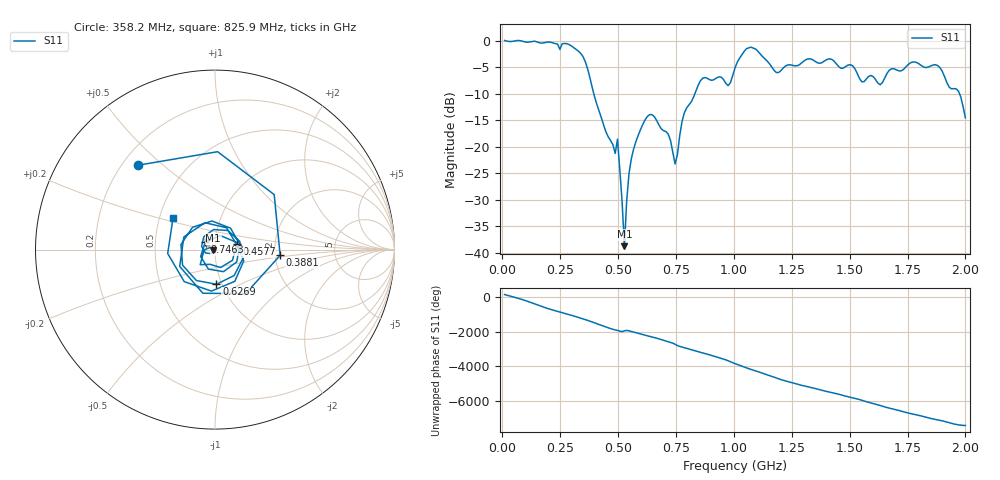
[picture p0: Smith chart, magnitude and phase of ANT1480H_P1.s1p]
!Created with skrf (http://scikit-rf.org).
# Hz S RI R 50.0
!freq ReS11 ImS11
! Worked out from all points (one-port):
!   201 points, 10 MHz to 2 GHz, reference 50 ohm
!   lowest |S11| = -38.8 dB at 527.4 MHz (marker M1), VSWR 1.02, Z = 48.9 - j0.363 ohm
!   |S11| at or under -10 dB: 395.2 MHz to 831.6 MHz (436.4 MHz wide, 71.1 % of centre); 1.975 GHz to end of sweep
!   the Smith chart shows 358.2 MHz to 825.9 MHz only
!   S11 on the Smith chart (normalised r, x): 358.2 MHz: 0.26, +0.42; 388.1 MHz: 2.13, -0.16; 457.8 MHz: 1.27, +0.08; 626.9 MHz: 0.94, -0.38; 746.3 MHz: 0.89, +0.08; 825.9 MHz: 0.59, +0.23
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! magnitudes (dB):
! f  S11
! 10 MHz  0.0
! 258.8 MHz  -0.6
! 358.2 MHz  -3.9
! 388.1 MHz  -8.8
! 457.8 MHz  -18.2
! 487.6 MHz  -21.3
! 497.6 MHz  -18.6
! 507.5 MHz  -24.3
! 527.4 MHz  -38.8
! 537.4 MHz  -30.1
! 557.2 MHz  -22.3
! 626.9 MHz  -14.3
! 716.5 MHz  -17.6
! 746.3 MHz  -23.3
! 756.2 MHz  -21.5
! 786.1 MHz  -13.6
! 825.9 MHz  -10.7
! 975.1 MHz  -8.5
! 1.005 GHz  -5.1
! 1.075 GHz  -1.2
! 1.184 GHz  -6.0
! 1.254 GHz  -4.6
! 1.502 GHz  -4.5
! 1.632 GHz  -8.3
! 1.751 GHz  -4.6
! 1.881 GHz  -4.7
! 1.97 GHz  -9.5
! 2 GHz  -14.6
